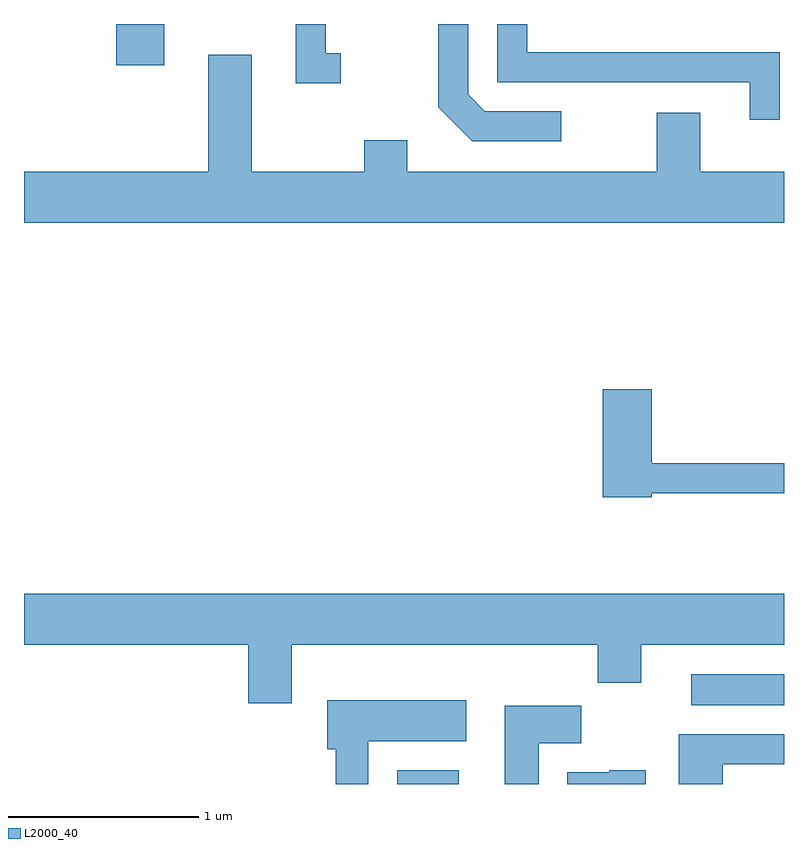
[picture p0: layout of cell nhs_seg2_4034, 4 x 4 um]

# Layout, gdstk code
import gdstk
lib = gdstk.Library(unit=1e-6, precision=1e-09)
def R(c, l, rs):  # rectangles x0, y0, x1, y1
    for r in rs: c.add(gdstk.rectangle(r[:2], r[2:], *l))
def P(c, l, *ps):  # polygons
    for p in ps: c.add(gdstk.Polygon(p, *l))
L2000_40 = (2000, 40)

nhs_seg2_4034 = lib.new_cell('nhs_seg2_4034')
R(nhs_seg2_4034, L2000_40, [(305.576,1049.802,305.899,1049.874), (307.123,1050.216,307.611,1050.379), (304.096,1053.586,304.349,1053.802)])
P(nhs_seg2_4034, L2000_40, [(305.278,1053.649),(305.199,1053.649),(305.199,1053.802),(305.041,1053.802),(305.041,1053.491),(305.278,1053.491)],
  [(306.438,1053.344),(306.037,1053.344),(305.949,1053.432),(305.949,1053.802),(305.791,1053.802),(305.791,1053.364),(305.969,1053.186),(306.438,1053.186)],
  [(307.589,1053.654),(306.259,1053.654),(306.259,1053.802),(306.101,1053.802),(306.101,1053.496),(307.431,1053.496),(307.431,1053.298),(307.589,1053.298)],
  [(307.611,1053.024),(307.169,1053.024),(307.169,1053.334),(306.941,1053.334),(306.941,1053.024),(305.629,1053.024),(305.629,1053.189),(305.401,1053.189),(305.401,1053.024),(304.809,1053.024),(304.809,1053.639),(304.581,1053.639),(304.581,1053.024),(303.611,1053.024),(303.611,1052.756),(307.611,1052.756)],
  [(306.914,1051.331),(307.611,1051.331),(307.611,1051.489),(306.914,1051.489),(306.914,1051.879),(306.656,1051.879),(306.656,1051.311),(306.914,1051.311)],
  [(305.019,1050.536),(306.631,1050.536),(306.631,1050.336),(306.859,1050.336),(306.859,1050.536),(307.611,1050.536),(307.611,1050.804),(303.611,1050.804),(303.611,1050.536),(304.791,1050.536),(304.791,1050.226),(305.019,1050.226)],
  [(305.424,1050.026),(305.939,1050.026),(305.939,1050.244),(305.206,1050.244),(305.206,1049.986),(305.251,1049.986),(305.251,1049.802),(305.424,1049.802)],
  [(306.319,1050.016),(306.544,1050.016),(306.544,1050.214),(306.141,1050.214),(306.141,1049.802),(306.319,1049.802)],
  [(307.289,1049.906),(307.611,1049.906),(307.611,1050.064),(307.056,1050.064),(307.056,1049.802),(307.289,1049.802)],
  [(306.884,1049.874),(306.69,1049.874),(306.69,1049.864),(306.471,1049.864),(306.471,1049.802),(306.884,1049.802)])

lib.write_gds('nhs_seg2_4034.gds')
